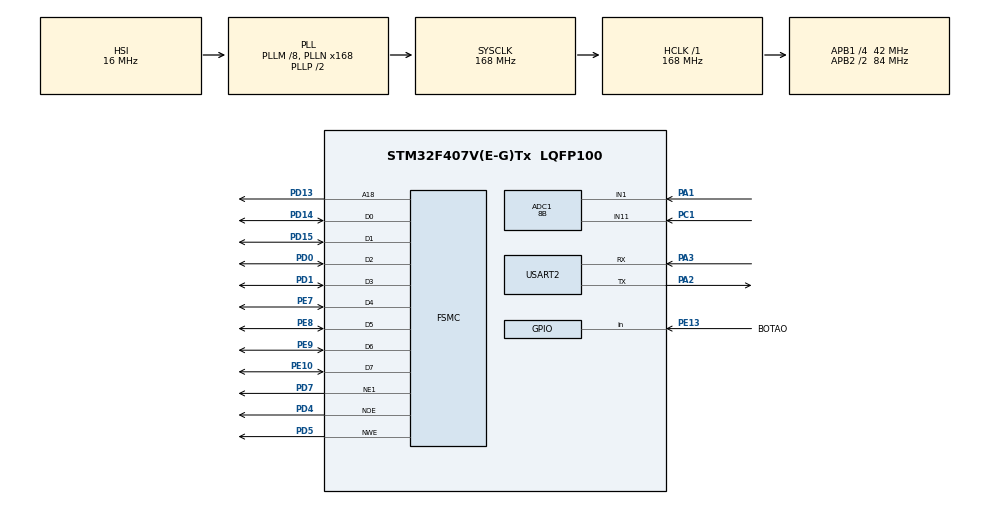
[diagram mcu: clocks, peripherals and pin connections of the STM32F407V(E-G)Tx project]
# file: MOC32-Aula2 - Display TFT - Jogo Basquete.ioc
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ADC1.Channel-2\#ChannelRegularConversion=ADC_CHANNEL_1
ADC1.Channel-4\#ChannelRegularConversion=ADC_CHANNEL_11
ADC1.ClockPrescaler=ADC_CLOCK_SYNC_PCLK_DIV4
ADC1.NbrOfConversion=2
ADC1.NbrOfConversionFlag=1
ADC1.Rank-2\#ChannelRegularConversion=1
ADC1.Rank-4\#ChannelRegularConversion=2
ADC1.Resolution=ADC_RESOLUTION_8B
ADC1.SamplingTime-2\#ChannelRegularConversion=ADC_SAMPLETIME_480CYCLES
ADC1.SamplingTime-4\#ChannelRegularConversion=ADC_SAMPLETIME_480CYCLES
ADC1.master=1
FSMC.AddressSetupTime1=6
FSMC.BusTurnAroundDuration1=15
FSMC.DataSetupTime1=6
Mcu.Family=STM32F4
Mcu.Name=STM32F407V(E-G)Tx
Mcu.Package=LQFP100
NVIC.PriorityGroup=NVIC_PRIORITYGROUP_4
NVIC.USART2_IRQn=true\:0\:0\:false\:false\:true\:true\:true\:true
PA1.Signal=ADCx_IN1
PA2.Mode=Asynchronous
PA2.Signal=USART2_TX
PA3.Mode=Asynchronous
PA3.Signal=USART2_RX
PC1.Signal=ADCx_IN11
PD0.Mode=8b-d1
PD0.Signal=FSMC_D2
PD1.Mode=8b-d1
PD1.Signal=FSMC_D3
PD13.Mode=A18_1
PD13.Signal=FSMC_A18
PD14.Mode=8b-d1
PD14.Signal=FSMC_D0
PD15.Mode=8b-d1
PD15.Signal=FSMC_D1
PD4.Mode=Lcd1
PD4.Signal=FSMC_NOE
PD5.Mode=Lcd1
PD5.Signal=FSMC_NWE
PD7.Mode=NorPsramChipSelect1_1
PD7.Signal=FSMC_NE1
PE10.Mode=8b-d1
PE10.Signal=FSMC_D7
PE13.GPIO_Label=BOTAO
PE13.GPIO_PuPd=GPIO_PULLUP
PE13.Signal=GPIO_Input
PE7.Mode=8b-d1
PE7.Signal=FSMC_D4
PE8.Mode=8b-d1
PE8.Signal=FSMC_D5
PE9.Mode=8b-d1
PE9.Signal=FSMC_D6
PH0-OSC_IN.Mode=HSE-External-Oscillator
PH0-OSC_IN.Signal=RCC_OSC_IN
PH1-OSC_OUT.Mode=HSE-External-Oscillator
PH1-OSC_OUT.Signal=RCC_OSC_OUT
ProjectManager.HeapSize=0x200
ProjectManager.StackSize=0x400
ProjectManager.TargetToolchain=STM32CubeIDE
RCC.48MHZClocksFreq_Value=84000000
RCC.AHBFreq_Value=168000000
RCC.APB1CLKDivider=RCC_HCLK_DIV4
RCC.APB1Freq_Value=42000000
RCC.APB1TimFreq_Value=84000000
RCC.APB2CLKDivider=RCC_HCLK_DIV2
RCC.APB2Freq_Value=84000000
RCC.APB2TimFreq_Value=168000000
RCC.CortexFreq_Value=168000000
RCC.HCLKFreq_Value=168000000
RCC.HSE_VALUE=8000000
RCC.HSI_VALUE=16000000
RCC.LSE_VALUE=32768
RCC.PLLM=8
RCC.PLLN=168
RCC.SYSCLKFreq_VALUE=168000000
RCC.SYSCLKSource=RCC_SYSCLKSOURCE_PLLCLK
RCC.VCOOutputFreq_Value=336000000
SH.ADCx_IN1.0=ADC1_IN1,IN1
SH.ADCx_IN11.0=ADC1_IN11,IN11
USART2.VirtualMode=VM_ASYNC
board=custom

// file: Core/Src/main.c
/* USER CODE BEGIN Header */
/**
  ******************************************************************************
  * @file           : main.c
  * @brief          : Main program body
  ******************************************************************************
  * @attention
  *
  * Copyright (c) 2023 STMicroelectronics.
  * All rights reserved.
  *
  * This software is licensed under terms that can be found in the LICENSE file
  * in the root directory of this software component.
  * If no LICENSE file comes with this software, it is provided AS-IS.
  *
  ******************************************************************************
  */
/* USER CODE END Header */
#include "main.h"

/* USER CODE BEGIN Includes */
#include "ili9341.h"
#include "common.h"
#include "fonts.h"
#include "lcd.h"
#include "math.h"
#include <stdbool.h>

/* USER CODE END Includes */

ADC_HandleTypeDef hadc1;

UART_HandleTypeDef huart2;

SRAM_HandleTypeDef hsram1;

/* USER CODE BEGIN PV */
volatile char dataReceivedInTheRx[10];
volatile int ballsXAxis[1] = {288};
volatile int ballsYAxis[1] = {80};
volatile uint32_t flagReceivedDataInTheRx = 0;
extern const unsigned short gameImage[54720];
extern const unsigned short StrengthAimImage[19840];
extern const unsigned short gameOverImage[72000];
extern const unsigned short youWinImage[57600];
volatile int strengthBarAimValue;
/* USER CODE END PV */

void SystemClock_Config(void);
static void MX_GPIO_Init(void);
static void MX_ADC1_Init(void);
static void MX_FSMC_Init(void);
static void MX_USART2_UART_Init(void);
/* USER CODE BEGIN PFP */
void initImageBall();
void initStrengthBar();
void animationHitThePitch();
void strongThrowAnimation();
void weakThrowAnimation();
void checkingRxData();
/* USER CODE END PFP */

/* USER CODE BEGIN 0 */
uint32_t flagEnableStrengthBar = 1;
/* USER CODE END 0 */

int main(void)
{

  /* MCU Configuration--------------------------------------------------------*/

  /* Reset of all peripherals, Initializes the Flash interface and the Systick. */
  HAL_Init();

  /* Configure the system clock */
  SystemClock_Config();

  /* Initialize all configured peripherals */
  MX_GPIO_Init();
  MX_ADC1_Init();
  MX_FSMC_Init();
  MX_USART2_UART_Init();
  /* USER CODE BEGIN 2 */
  HAL_UART_Receive_IT(&huart2, dataReceivedInTheRx, 1);
  ili9341_Init();
  ili9341_FillScreen(COLOR_BLACK); // fundo com tela preta
  ili9341_DrawRGBImage(0, 0, 320, 171, gameImage); // carrega a imagem do game
  ili9341_DrawRGBImage(0, 180, 320, 62, StrengthAimImage);

  initImageBall(); // inicializa a função criar bola de basquete
  /* USER CODE END 2 */

  /* Infinite loop */
  while (1)
  {

    /* USER CODE BEGIN 3 */
	  initStrengthBar();
  }
  /* USER CODE END 3 */
}

void SystemClock_Config(void)
{
  RCC_OscInitTypeDef RCC_OscInitStruct = {0};
  RCC_ClkInitTypeDef RCC_ClkInitStruct = {0};

  /** Configure the main internal regulator output voltage
  */
  __HAL_RCC_PWR_CLK_ENABLE();
  __HAL_PWR_VOLTAGESCALING_CONFIG(PWR_REGULATOR_VOLTAGE_SCALE1);

  /** Initializes the RCC Oscillators according to the specified parameters
  * in the RCC_OscInitTypeDef structure.
  */
  RCC_OscInitStruct.OscillatorType = RCC_OSCILLATORTYPE_HSI;
  RCC_OscInitStruct.HSIState = RCC_HSI_ON;
  RCC_OscInitStruct.HSICalibrationValue = RCC_HSICALIBRATION_DEFAULT;
  RCC_OscInitStruct.PLL.PLLState = RCC_PLL_ON;
  RCC_OscInitStruct.PLL.PLLSource = RCC_PLLSOURCE_HSI;
  RCC_OscInitStruct.PLL.PLLM = 8;
  RCC_OscInitStruct.PLL.PLLN = 168;
  RCC_OscInitStruct.PLL.PLLP = RCC_PLLP_DIV2;
  RCC_OscInitStruct.PLL.PLLQ = 4;
  if (HAL_RCC_OscConfig(&RCC_OscInitStruct) != HAL_OK)
  {
    Error_Handler();
  }

  /** Initializes the CPU, AHB and APB buses clocks
  */
  RCC_ClkInitStruct.ClockType = RCC_CLOCKTYPE_HCLK|RCC_CLOCKTYPE_SYSCLK
                              |RCC_CLOCKTYPE_PCLK1|RCC_CLOCKTYPE_PCLK2;
  RCC_ClkInitStruct.SYSCLKSource = RCC_SYSCLKSOURCE_PLLCLK;
  RCC_ClkInitStruct.AHBCLKDivider = RCC_SYSCLK_DIV1;
  RCC_ClkInitStruct.APB1CLKDivider = RCC_HCLK_DIV4;
  RCC_ClkInitStruct.APB2CLKDivider = RCC_HCLK_DIV2;

  if (HAL_RCC_ClockConfig(&RCC_ClkInitStruct, FLASH_LATENCY_5) != HAL_OK)
  {
    Error_Handler();
  }
}

static void MX_ADC1_Init(void)
{

  ADC_ChannelConfTypeDef sConfig = {0};

  /** Configure the global features of the ADC (Clock, Resolution, Data Alignment and number of conversion)
  */
  hadc1.Instance = ADC1;
  hadc1.Init.ClockPrescaler = ADC_CLOCK_SYNC_PCLK_DIV4;
  hadc1.Init.Resolution = ADC_RESOLUTION_8B;
  hadc1.Init.ScanConvMode = ENABLE;
  hadc1.Init.ContinuousConvMode = DISABLE;
  hadc1.Init.DiscontinuousConvMode = DISABLE;
  hadc1.Init.ExternalTrigConvEdge = ADC_EXTERNALTRIGCONVEDGE_NONE;
  hadc1.Init.ExternalTrigConv = ADC_SOFTWARE_START;
  hadc1.Init.DataAlign = ADC_DATAALIGN_RIGHT;
  hadc1.Init.NbrOfConversion = 2;
  hadc1.Init.DMAContinuousRequests = DISABLE;
  hadc1.Init.EOCSelection = ADC_EOC_SINGLE_CONV;
  if (HAL_ADC_Init(&hadc1) != HAL_OK)
  {
    Error_Handler();
  }

  /** Configure for the selected ADC regular channel its corresponding rank in the sequencer and its sample time.
  */
  sConfig.Channel = ADC_CHANNEL_1;
  sConfig.Rank = 1;
  sConfig.SamplingTime = ADC_SAMPLETIME_480CYCLES;
  if (HAL_ADC_ConfigChannel(&hadc1, &sConfig) != HAL_OK)
  {
    Error_Handler();
  }

  /** Configure for the selected ADC regular channel its corresponding rank in the sequencer and its sample time.
  */
  sConfig.Channel = ADC_CHANNEL_11;
  sConfig.Rank = 2;
  if (HAL_ADC_ConfigChannel(&hadc1, &sConfig) != HAL_OK)
  {
    Error_Handler();
  }

}

static void MX_USART2_UART_Init(void)
{

  huart2.Instance = USART2;
  huart2.Init.BaudRate = 115200;
  huart2.Init.WordLength = UART_WORDLENGTH_8B;
  huart2.Init.StopBits = UART_STOPBITS_1;
  huart2.Init.Parity = UART_PARITY_NONE;
  huart2.Init.Mode = UART_MODE_TX_RX;
  huart2.Init.HwFlowCtl = UART_HWCONTROL_NONE;
  huart2.Init.OverSampling = UART_OVERSAMPLING_16;
  if (HAL_UART_Init(&huart2) != HAL_OK)
  {
    Error_Handler();
  }

}

static void MX_GPIO_Init(void)
{
  GPIO_InitTypeDef GPIO_InitStruct = {0};

  /* GPIO Ports Clock Enable */
  __HAL_RCC_GPIOH_CLK_ENABLE();
  __HAL_RCC_GPIOC_CLK_ENABLE();
  __HAL_RCC_GPIOA_CLK_ENABLE();
  __HAL_RCC_GPIOE_CLK_ENABLE();
  __HAL_RCC_GPIOD_CLK_ENABLE();

  /*Configure GPIO pin : BOTAO_Pin */
  GPIO_InitStruct.Pin = BOTAO_Pin;
  GPIO_InitStruct.Mode = GPIO_MODE_INPUT;
  GPIO_InitStruct.Pull = GPIO_PULLUP;
  HAL_GPIO_Init(BOTAO_GPIO_Port, &GPIO_InitStruct);

}

/* FSMC initialization function */
static void MX_FSMC_Init(void)
{

  FSMC_NORSRAM_TimingTypeDef Timing = {0};

  /** Perform the SRAM1 memory initialization sequence
  */
  hsram1.Instance = FSMC_NORSRAM_DEVICE;
  hsram1.Extended = FSMC_NORSRAM_EXTENDED_DEVICE;
  /* hsram1.Init */
  hsram1.Init.NSBank = FSMC_NORSRAM_BANK1;
  hsram1.Init.DataAddressMux = FSMC_DATA_ADDRESS_MUX_DISABLE;
  hsram1.Init.MemoryType = FSMC_MEMORY_TYPE_SRAM;
  hsram1.Init.MemoryDataWidth = FSMC_NORSRAM_MEM_BUS_WIDTH_8;
  hsram1.Init.BurstAccessMode = FSMC_BURST_ACCESS_MODE_DISABLE;
  hsram1.Init.WaitSignalPolarity = FSMC_WAIT_SIGNAL_POLARITY_LOW;
  hsram1.Init.WrapMode = FSMC_WRAP_MODE_DISABLE;
  hsram1.Init.WaitSignalActive = FSMC_WAIT_TIMING_BEFORE_WS;
  hsram1.Init.WriteOperation = FSMC_WRITE_OPERATION_ENABLE;
  hsram1.Init.WaitSignal = FSMC_WAIT_SIGNAL_DISABLE;
  hsram1.Init.ExtendedMode = FSMC_EXTENDED_MODE_DISABLE;
  hsram1.Init.AsynchronousWait = FSMC_ASYNCHRONOUS_WAIT_DISABLE;
  hsram1.Init.WriteBurst = FSMC_WRITE_BURST_DISABLE;
  hsram1.Init.PageSize = FSMC_PAGE_SIZE_NONE;
  /* Timing */
  Timing.AddressSetupTime = 6;
  Timing.AddressHoldTime = 15;
  Timing.DataSetupTime = 6;
  Timing.BusTurnAroundDuration = 15;
  Timing.CLKDivision = 16;
  Timing.DataLatency = 17;
  Timing.AccessMode = FSMC_ACCESS_MODE_A;
  /* ExtTiming */

  if (HAL_SRAM_Init(&hsram1, &Timing, NULL) != HAL_OK)
  {
    Error_Handler( );
  }

}

/* USER CODE BEGIN 4 */
void HAL_UART_RxCpltCallback(UART_HandleTypeDef *huart)
{
	HAL_UART_Receive_IT(&huart2, dataReceivedInTheRx, 1);
	flagReceivedDataInTheRx = 1;
}

void checkingRxData()
{
	if (flagReceivedDataInTheRx) // verifica se chegou algo na porta serial
	{
		flagReceivedDataInTheRx = 0;
		if(strengthBarAimValue >= 130 && strengthBarAimValue <= 170)
		{
			animationHitThePitch();
			ili9341_FillScreen(COLOR_BLACK); // fundo com tela preta
			ili9341_DrawRGBImage(40, 0, 240, 240, youWinImage); // carrega a imagem do game
			HAL_Delay(2000);
			NVIC_SystemReset();
		}
		if(strengthBarAimValue < 130)
		{
			strongThrowAnimation();
			ili9341_FillScreen(COLOR_BLACK); // fundo com tela preta
			ili9341_DrawRGBImage(10, 0, 300, 240, gameOverImage); // carrega a imagem do game
			HAL_Delay(2000);
			NVIC_SystemReset();
		}
		if(strengthBarAimValue >170)
		{
			weakThrowAnimation();
			ili9341_FillScreen(COLOR_BLACK); // fundo com tela preta
			ili9341_DrawRGBImage(10, 0, 300, 240, gameOverImage); // carrega a imagem do game
			HAL_Delay(2000);
			NVIC_SystemReset();
		}
	}
}

void initImageBall(void) // função criar bola de basquete
{
	ili9341_DrawCircle(ballsXAxis[0], ballsYAxis[0], 1, COLOR_ORANGE);
	ili9341_DrawCircle(ballsXAxis[0], ballsYAxis[0], 2, COLOR_ORANGE);
	ili9341_DrawCircle(ballsXAxis[0], ballsYAxis[0], 3, COLOR_ORANGE);
	ili9341_DrawCircle(ballsXAxis[0], ballsYAxis[0], 4, COLOR_ORANGE);
}

void initStrengthBar() // função iniciar barra de força
{
	if (strengthBarAimValue < 290)
	{
		for (int i = 4; i <= 300; i = i + 10)
		{
			strengthBarAimValue = i;
			ili9341_DrawRGBImage(0, 180, 320, 62, StrengthAimImage);
			ili9341_FillRect(strengthBarAimValue, 178, 20, 62, COLOR_BLACK);
			checkingRxData();
			HAL_Delay(50);
		}
	} else {
		for (int i = 310; i >= 10; i = i - 10)
		{
			strengthBarAimValue = i;
			ili9341_DrawRGBImage(0, 180, 320, 62, StrengthAimImage);
			ili9341_FillRect(strengthBarAimValue, 178, 20, 62, COLOR_BLACK);
			checkingRxData();
			HAL_Delay(50);
		}
	}
}

void animationHitThePitch()
{
	int count = 1;
	while(count <= 11)
	{
		if(ballsXAxis[0] > 175)
		{
			ili9341_DrawRGBImage(0, 0, 320, 171, gameImage);
			ballsXAxis[0] = ballsXAxis[0] - 19;
			ballsYAxis[0] = ballsYAxis[0] - 11;
			initImageBall();
			HAL_Delay(300);
		}
		if(ballsXAxis[0] < 175 && ballsXAxis[0] > 69)
		{
			ili9341_DrawRGBImage(0, 0, 320, 171, gameImage);
			ballsXAxis[0] = ballsXAxis[0] - 21;
			ballsYAxis[0] = ballsYAxis[0] + 14;
			initImageBall();
			HAL_Delay(300);
		}
		count++;
	}
}

void strongThrowAnimation()
{
	int count = 1;
	while(count <= 14)
	{
		if(ballsXAxis[0] > 0)
		{
			ili9341_DrawRGBImage(0, 0, 320, 171, gameImage);
			ballsXAxis[0] = ballsXAxis[0] - 20;
			ballsYAxis[0] = ballsYAxis[0] - 4;
			initImageBall();
			HAL_Delay(100);
		}
		count++;
	}
}
void weakThrowAnimation()
{
	int count = 1;
	while(count <= 15)
	{
		if(ballsXAxis[0] > 200)
		{
			ili9341_DrawRGBImage(0, 0, 320, 171, gameImage);
			ballsXAxis[0] = ballsXAxis[0] - 19;
			ballsYAxis[0] = ballsYAxis[0] - 11;
			initImageBall();
			HAL_Delay(300);
		}
		if(ballsXAxis[0] < 200 && ballsXAxis[0] > 30)
		{
			ili9341_DrawRGBImage(0, 0, 320, 171, gameImage);
			ballsXAxis[0] = ballsXAxis[0] - 21;
			ballsYAxis[0] = ballsYAxis[0] + 14;
			initImageBall();
			HAL_Delay(300);
		}
		count++;
	}
}
/* USER CODE END 4 */

void Error_Handler(void)
{
  __disable_irq();
  while (1)
  {
  }
}
